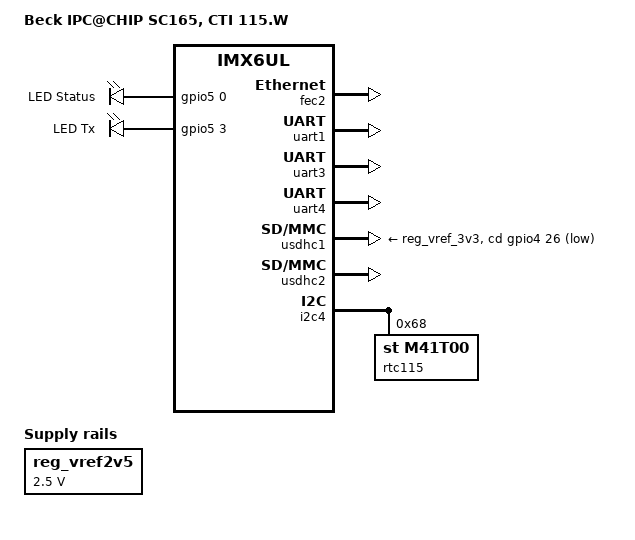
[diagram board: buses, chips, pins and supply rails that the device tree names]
/*
 * Copyright (C) 2015 Freescale Semiconductor, Inc.
 * Copyright (C) 2016 Beck IPC GmbH
 * Copyright (C) 2017, 2018, 2025 ./kernel concepts GmbH
 *
 * This program is free software; you can redistribute it and/or modify
 * it under the terms of the GNU General Public License version 2 as
 * published by the Free Software Foundation.
 *
 * Device tree for SC165-H00 in com.tom Industry CTI 115.W
 *
 */

/dts-v1/;
#include "imx6ul.dtsi"
#include "imx6ul-sc165-h00.dtsi"
#include <dt-bindings/gpio/gpio.h>

/ {
	model = "Beck IPC@CHIP SC165, CTI 115.W";
	compatible = "beck,imx6ul-sc165", "fsl,imx6ul";

	chosen {
		stdout-path = &uart4;
	};


	/* LEDs located on main board */
	mainboard-leds {
		status = "okay";
		pinctrl-names = "default";
		pinctrl-0 = <&pinctrl_leds>;
		compatible = "gpio-leds";
		led_y {
	                label = "LED Status";
	                gpios = <&gpio5 0 GPIO_ACTIVE_HIGH>;
		        default-state = "off";
	                linux,default-trigger = "heartbeat";
	        };
		led_r {
	                label = "LED Tx";
	                gpios = <&gpio5 3 GPIO_ACTIVE_HIGH>;
		        default-state = "off";
		};
	};

	reg_vref2v5: regulator-2v5 {
		compatible = "regulator-fixed";
		regulator-name = "vref";
		regulator-min-microvolt = <2500000>;
		regulator-max-microvolt = <2500000>;
		regulator-always-on;
	};
};

&flash0 {
	partitions {
		compatible = "fixed-partitions";
		#address-cells = <1>;
		#size-cells = <1>;

		partition@0 {		/* 512k */
			label = "bootloader";
			reg = <0x0000000 0x0080000>;
			read-only;
		};

		partition@80000 {	/* 256k */
			label = "environment";
			reg = <0x0080000 0x0040000>;
		};

		partition@C0000 {	/* ubi container */
			label = "filesystem";
			reg = <0x00C0000 0xFF40000>;
		};
	};
};

&fec2 {
    status = "okay";
};

&can1 {
    status = "disabled";
};

&can2 {
    status = "disabled";
};

&uart1 {
    status = "okay";
//    avoid dma if you want to use rs485
//    dmas = <&sdma 25 4 0>, <&sdma 26 4 0>;
//    dma-names = "rx", "tx";

    /* RS485 */
    linux,rs485-enabled-at-boot-time;
    rs485-rts-delay = <0 200>;              // in milliseconds
    fsl,uart-has-rtscts;
};

&uart3 {
    status = "okay";

    /* RS485 */
    linux,rs485-enabled-at-boot-time;
    rs485-rts-delay = <0 200>;              // in milliseconds
    fsl,uart-has-rtscts;
};

&uart4 {
    status = "okay";
};

&uart5 {
    status = "disabled";
    /delete-node/ fsl,uart-has-rtscts;
};

&usdhc1 {
    status = "okay";
    cd-gpios = <&gpio4 26 GPIO_ACTIVE_LOW>; /* 117 high, 115 low */
    disable-wp;
    vmmc-supply = <&reg_vref_3v3>;
    /delete-node/ wp-gpios;
};


&usdhc2 {
    status = "okay";
};

&usbotg1 {
	status = "disabled";
};

&usbotg2 {
	status = "disabled";
};

&lcdif {
	status = "disabled";
};

&i2c1 {
    status = "disabled";
};


&i2c2 {
    status = "disabled";
};

&i2c4 {
    status = "okay";

    /* External RTC CTI 115 */
    rtc115: m41t00@68 {
	compatible = "st,m41t00";
	reg = <0x68>;
    };
};

&ecspi1 {
    pinctrl-names = "default";
    pinctrl-0 = <&pinctrl_ecspi1>;
    status = "disabled";
};

&pinctrl_ecspi1 {
	fsl,pins = <
		MX6UL_PAD_CSI_DATA07__ECSPI1_MISO   0x1b020
		MX6UL_PAD_CSI_DATA06__ECSPI1_MOSI   0x1b020
		MX6UL_PAD_CSI_DATA04__ECSPI1_SCLK   0x1b020
	>;
};

&ecspi2 {
    fsl,spi-num-chipselects = <1>;
    cs-gpios = <&gpio4 22 GPIO_ACTIVE_LOW>;
    pinctrl-names = "default";
    pinctrl-0 = <&pinctrl_ecspi2>;
    status = "disabled";
};

/* SPI2 */
&pinctrl_ecspi2 {
    fsl,pins = <
	MX6UL_PAD_CSI_DATA01__GPIO4_IO22     0x0b0b0
        MX6UL_PAD_CSI_DATA03__ECSPI2_MISO    0x1b020
        MX6UL_PAD_CSI_DATA02__ECSPI2_MOSI    0x1b020
        MX6UL_PAD_CSI_DATA00__ECSPI2_SCLK    0x1b020
    >;
};

/* USB OTG port */
&usbotg1 {
    vbus-supply = <&reg_vref_5v>;
    dr_mode = "otg";
    srp-disable;
    hnp-disable;
    adp-disable;
    disable-over-current;
    status = "disabled";
};

&iomuxc {
	pinctrl_leds: mbleds {
		fsl,pins = <
			MX6UL_PAD_SNVS_TAMPER0__GPIO5_IO00	0x0b0b0 /* Status LED */
			MX6UL_PAD_SNVS_TAMPER3__GPIO5_IO03	0x0b0b0 /* TX LED */
		>;
	};

    /* SDIO1 / SDHC card */
    pinctrl_usdhc1_default {
        fsl,pins = <
            MX6UL_PAD_SD1_CMD__USDHC1_CMD           0x17059
            MX6UL_PAD_SD1_CLK__USDHC1_CLK           0x10071
            MX6UL_PAD_SD1_DATA0__USDHC1_DATA0       0x17059
            MX6UL_PAD_SD1_DATA1__USDHC1_DATA1       0x17059
            MX6UL_PAD_SD1_DATA2__USDHC1_DATA2       0x17059
            MX6UL_PAD_SD1_DATA3__USDHC1_DATA3       0x17059
            MX6UL_PAD_CSI_DATA05__GPIO4_IO26        0x17059 /* SD1 CD */
        >;
    };

    pinctrl_usdhc1_100mhz {
        fsl,pins = <
            MX6UL_PAD_SD1_CMD__USDHC1_CMD           0x170b9
            MX6UL_PAD_SD1_CLK__USDHC1_CLK           0x100b9
            MX6UL_PAD_SD1_DATA0__USDHC1_DATA0       0x170b9
            MX6UL_PAD_SD1_DATA1__USDHC1_DATA1       0x170b9
            MX6UL_PAD_SD1_DATA2__USDHC1_DATA2       0x170b9
            MX6UL_PAD_SD1_DATA3__USDHC1_DATA3       0x170b9
            MX6UL_PAD_CSI_DATA05__GPIO4_IO26        0x17059 /* SD1 CD */
        >;
    };

    pinctrl_usdhc1_200mhz {
        fsl,pins = <
            MX6UL_PAD_SD1_CMD__USDHC1_CMD           0x170f9
            MX6UL_PAD_SD1_CLK__USDHC1_CLK           0x100f9
            MX6UL_PAD_SD1_DATA0__USDHC1_DATA0       0x170f9
            MX6UL_PAD_SD1_DATA1__USDHC1_DATA1       0x170f9
            MX6UL_PAD_SD1_DATA2__USDHC1_DATA2       0x170f9
            MX6UL_PAD_SD1_DATA3__USDHC1_DATA3       0x170f9
            MX6UL_PAD_CSI_DATA05__GPIO4_IO26        0x17059 /* SD1 CD */
        >;
    };
};
